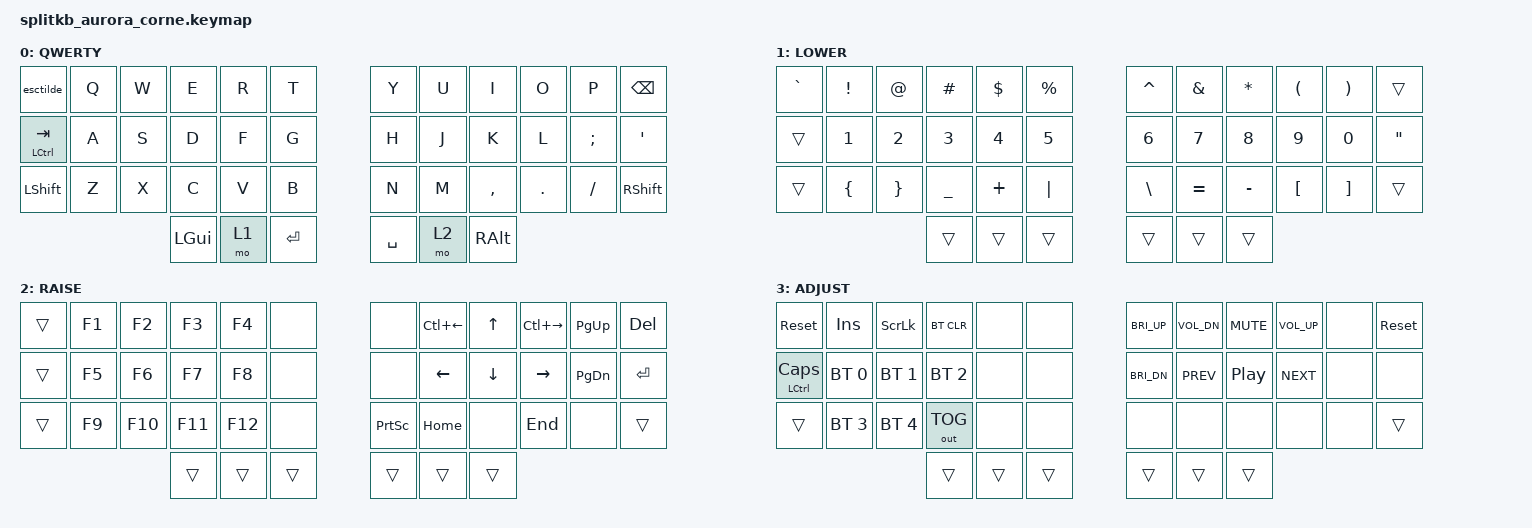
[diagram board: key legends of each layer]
/*
 * Copyright (c) 2020 The ZMK Contributors
 *
 * SPDX-License-Identifier: MIT
 */

/*
 * https://nickcoutsos.github.io/keymap-editor/
 */

#include <behaviors.dtsi>
#include <dt-bindings/zmk/keys.h>
#include <dt-bindings/zmk/bt.h>
#include <dt-bindings/zmk/outputs.h>

/ {
   conditional_layers {
      compatible = "zmk,conditional-layers";
      tri_layer {
        if-layers = <1 2>;
        then-layer = <3>;
      };
    };

   behaviors {
      esctilde: esc_tilde {
        compatible = "zmk,behavior-mod-morph";
        #binding-cells = <0>;
        bindings = <&kp ESC>, <&kp TILDE>;
        mods = <(MOD_LSFT|MOD_RSFT)>;
      };
    };

    keymap {
      compatible = "zmk,keymap";

      qwerty_layer {
        display-name = "QWERTY";
        bindings = <
&esctilde       &kp Q           &kp W           &kp E           &kp R           &kp T                                           &kp Y           &kp U           &kp I           &kp O           &kp P           &kp BSPC
&mt LCTRL TAB   &kp A           &kp S           &kp D           &kp F           &kp G                                           &kp H           &kp J           &kp K           &kp L           &kp SEMI        &kp SQT
&kp LSHFT       &kp Z           &kp X           &kp C           &kp V           &kp B                                           &kp N           &kp M           &kp COMMA       &kp DOT         &kp FSLH        &kp RSHFT
                                                                &kp LGUI        &mo 1           &kp RET         &kp SPACE       &mo 2           &kp RALT
        >;
      };

      lower_layer {
        display-name = "LOWER";
        bindings = <
&kp GRAVE       &kp EXCL        &kp AT          &kp HASH        &kp DLLR        &kp PRCNT                                       &kp CARET       &kp AMPS        &kp STAR        &kp LPAR        &kp RPAR        &trans
&trans          &kp N1          &kp N2          &kp N3          &kp N4          &kp N5                                          &kp N6          &kp N7          &kp N8          &kp N9          &kp N0          &kp DQT
&trans          &kp LBRC        &kp RBRC        &kp UNDER       &kp PLUS        &kp PIPE                                        &kp BSLH        &kp EQUAL       &kp MINUS       &kp LBKT        &kp RBKT        &trans
                                                                &trans          &trans          &trans          &trans          &trans          &trans
        >;
      };

      raise_layer {
        display-name = "RAISE";
        bindings = <
&trans          &kp F1          &kp F2          &kp F3          &kp F4          &none                                           &none           &kp LC(LEFT)    &kp UP          &kp LC(RIGHT)   &kp PG_UP       &kp DEL
&trans          &kp F5          &kp F6          &kp F7          &kp F8          &none                                           &none           &kp LEFT        &kp DOWN        &kp RIGHT       &kp PG_DN       &kp RET
&trans          &kp F9          &kp F10         &kp F11         &kp F12         &none                                           &kp PSCRN       &kp HOME        &none           &kp END         &none           &trans
                                                                &trans          &trans          &trans          &trans          &trans          &trans
        >;
      };

      adjust_layer {
        display-name = "ADJUST";
        bindings = <
&sys_reset      &kp INS         &kp SLCK        &bt BT_CLR      &none           &none                                           &kp C_BRI_UP    &kp C_VOL_DN    &kp C_MUTE      &kp C_VOL_UP    &none          &sys_reset
&mt LCTRL CAPS  &bt BT_SEL 0    &bt BT_SEL 1    &bt BT_SEL 2    &none           &none                                           &kp C_BRI_DN    &kp C_PREV      &kp C_PP        &kp C_NEXT      &none          &none
&trans          &bt BT_SEL 3    &bt BT_SEL 4    &out OUT_TOG    &none           &none                                           &none           &none           &none           &none           &none          &trans
                                                                &trans          &trans          &trans          &trans          &trans          &trans
        >;
      };
   };
};
